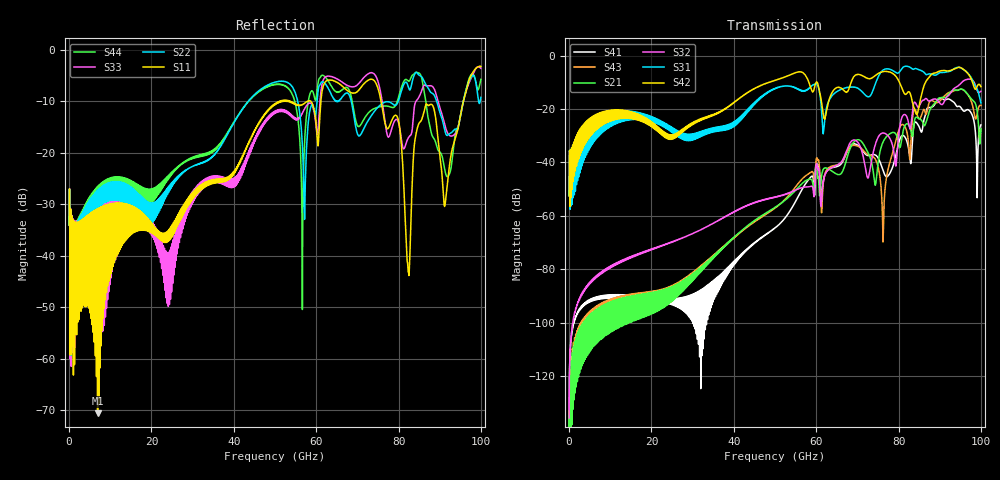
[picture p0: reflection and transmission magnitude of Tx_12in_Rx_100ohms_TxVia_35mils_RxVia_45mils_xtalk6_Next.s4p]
! Info: Touchstone file created by Circ.  Input file=Tx_12in_Rx_100ohms_TxVia_35mils_RxVia_45mils.circ
# Hz S RI R 50
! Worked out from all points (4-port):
!   10000 points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, 10 MHz to 100 GHz, reference 50 ohm
!   strongest paths, dB at 10 MHz, 25.01 GHz, 50.01 GHz, 75.01 GHz, 100 GHz:
!     S42: -52.5, -30.7, -9.2, -6.7, -11.6
!     S31: -52.5, -28.7, -12.2, -8.2, -17.7
!     S32: -135.7, -69.8, -53.0, -30.7, -13.4
!     S21: -145.1, -86.5, -56.8, -40.5, -27.5
!     S43: -143.6, -86.1, -57.1, -41.5, -18.7
!     S41: -135.7, -91.2, -64.5, -38.2, -26.0
!   lowest |S11| = -70.6 dB at 6.93 GHz (marker M1), VSWR 1.00, Z = 50 + j0.00986 ohm
!   |S11| at or under -10 dB: start of sweep to 51.02 GHz; 53.79 GHz to 57.85 GHz (4.066 GHz wide, 7.28 % of centre); 75.76 GHz to 95.75 GHz (19.98 GHz wide, 23.3 % of centre) (the widest 3 of 14)
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1e7  0.0185 0.00744  2.94e-08 4.69e-08  0.000821 0.00222  9.16e-08 1.37e-07
     2.94e-08 4.69e-08  0.0185 0.00744  5.94e-08 1.53e-07  0.000817 0.00222
     0.000821 0.00222  5.94e-08 1.53e-07  0.0183 0.00747  3.47e-08 5.62e-08
     9.16e-08 1.37e-07  0.000817 0.00222  3.47e-08 5.62e-08  0.0183 0.00747
6.93e9  -0.000277 9.87e-05  3.53e-06 8.13e-06  0.028 0.0105  -2.55e-05 -9.22e-06
        3.53e-06 8.13e-06  0.0272 0.0101  5.86e-05 4.93e-05  0.0418 0.0114
        0.028 0.0105  5.86e-05 4.93e-05  -0.00282 0.00055  5.33e-06 8.09e-06
        -2.55e-05 -9.22e-06  0.0418 0.0114  5.33e-06 8.09e-06  0.0308 0.0111
7.34e10  -0.2866 -0.4316  -0.00526 -0.0089  -0.00789 0.1894  -0.0114 -0.00773
         -0.00526 -0.0089  -0.0534 0.2228  -0.0068 0.00771  0.3083 -0.2165
         -0.00789 0.1894  -0.0068 0.00771  -0.3599 -0.48  -0.0119 -0.006
         -0.0114 -0.00773  0.3083 -0.2165  -0.0119 -0.006  -0.0708 0.2486
7.628e10  -0.2414 0.00968  0.0148 -0.0195  0.4165 0.34  0.00262 0.00638
          0.0148 -0.0195  0.3042 -0.0266  0.0334 -0.0123  -0.0182 -0.5014
          0.4165 0.34  0.0334 -0.0123  -0.2569 0.0824  -0.000382 0.000125
          0.00262 0.00638  -0.0182 -0.5014  -0.000382 0.000125  0.2844 0.0161
8.235e10  -0.0067 -0.00178  -0.0291 0.0424  -0.1846 -0.5978  -0.0164 0.0113
          -0.0291 0.0424  -0.1888 -0.3966  -0.0552 -0.0207  0.00317 0.2091
          -0.1846 -0.5978  -0.0552 -0.0207  0.0241 -0.1369  -0.0261 0.00267
          -0.0164 0.0113  0.00317 0.2091  -0.0261 0.00267  -0.1469 -0.4759
8.481e10  -0.0804 -0.1691  0.0227 0.0629  -0.5469 0.0424  0.0232 0.0438
          0.0227 0.0629  -0.5475 -0.1809  -0.0924 0.0537  -0.0119 -0.0966
          -0.5469 0.0424  -0.0924 0.0537  -0.2287 -0.2515  -0.0207 0.0649
          0.0232 0.0438  -0.0119 -0.0966  -0.0207 0.0649  -0.587 -0.1165
1e11  -0.5613 0.4002  0.0376 -0.0196  0.0812 0.1012  -0.0373 -0.0338
      0.0376 -0.0196  -0.3443 0.0316  0.06 0.2056  0.0185 0.261
      0.0812 0.1012  0.06 0.2056  -0.5597 0.352  0.066 -0.0961
      -0.0373 -0.0338  0.0185 0.261  0.066 -0.0961  -0.5122 0.0748
